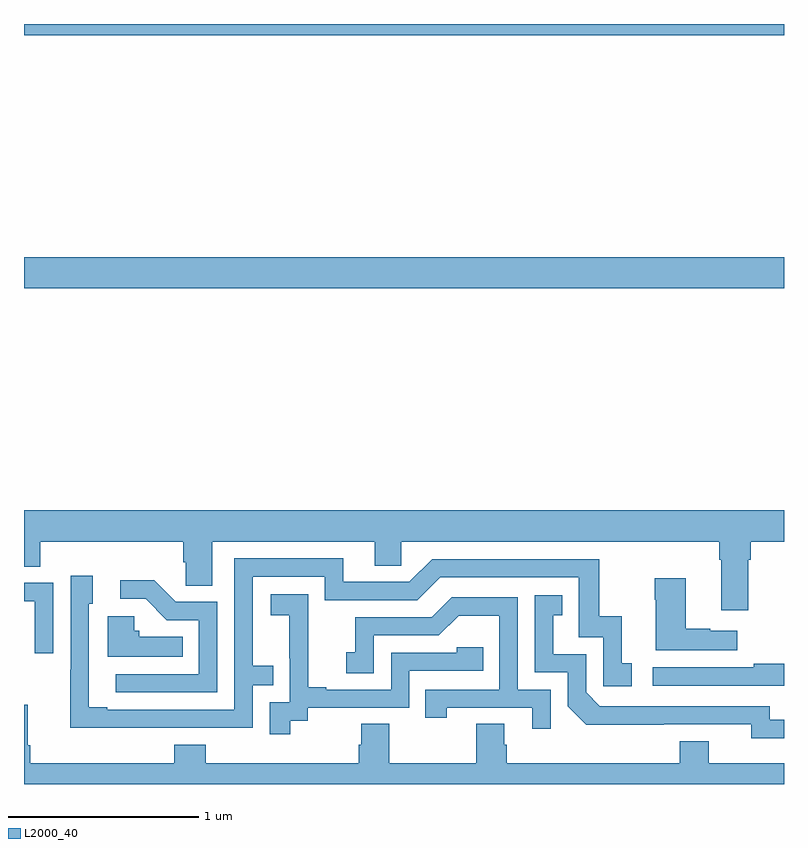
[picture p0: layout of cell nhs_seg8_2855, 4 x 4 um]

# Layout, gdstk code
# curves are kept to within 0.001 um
import gdstk
lib = gdstk.Library(unit=1e-6, precision=1e-09)
def R(c, l, rs):  # rectangles x0, y0, x1, y1
    for r in rs: c.add(gdstk.rectangle(r[:2], r[2:], *l))
def P(c, l, *ps):  # polygons
    for p in ps: c.add(gdstk.Polygon(p, *l))
L2000_40 = (2000, 40)

nhs_seg8_2855 = lib.new_cell('nhs_seg8_2855')
R(nhs_seg8_2855, L2000_40, [(291,1108.508,295,1108.672), (291,1109.84,295,1109.9)])
P(nhs_seg8_2855, L2000_40, [(294.811,1107.08),(294.824,1107.08),(294.824,1107.176),(295,1107.176),(295,1107.34),(291,1107.34),(291,1107.043),(291.086,1107.043),(291.086,1107.176),(291.839,1107.176),(291.839,1107.067),(291.852,1107.067),(291.852,1106.944),(291.991,1106.944),(291.991,1107.176),(292.847,1107.176),(292.847,1107.049),(292.986,1107.049),(292.986,1107.176),(294.659,1107.176),(294.659,1107.08),(294.671,1107.08),(294.671,1106.814),(294.811,1106.814)],
  [(291.707,1106.196),(292.203,1106.196),(292.203,1106.421),(292.313,1106.421),(292.313,1106.522),(292.203,1106.522),(292.203,1106.991),(292.584,1106.991),(292.584,1106.868),(293.07,1106.868),(293.19,1106.988),(293.919,1106.988),(293.919,1106.673),(294.048,1106.673),(294.048,1106.415),(294.199,1106.415),(294.199,1106.535),(294.146,1106.535),(294.146,1106.782),(294.028,1106.782),(294.028,1107.084),(293.148,1107.084),(293.028,1106.964),(292.681,1106.964),(292.681,1107.087),(292.107,1107.087),(292.107,1106.292),(291.439,1106.292),(291.439,1106.305),(291.342,1106.305),(291.342,1106.85),(291.361,1106.85),(291.361,1106.995),(291.246,1106.995),(291.246,1106.501),(291.244,1106.501),(291.244,1106.195)],
  [(294.754,1106.707),(294.611,1106.707),(294.611,1106.717),(294.484,1106.717),(294.484,1106.983),(294.319,1106.983),(294.319,1106.87),(294.326,1106.87),(294.326,1106.603),(294.754,1106.603)],
  [(292.017,1106.859),(291.798,1106.859),(291.685,1106.972),(291.507,1106.972),(291.507,1106.874),(291.641,1106.874),(291.752,1106.763),(291.921,1106.763),(291.921,1106.478),(291.483,1106.478),(291.483,1106.382),(292.017,1106.382)],
  [(291.153,1106.958),(291,1106.958),(291,1106.862),(291.057,1106.862),(291.057,1106.589),(291.153,1106.589)],
  [(292.402,1106.233),(292.494,1106.233),(292.494,1106.301),(293.028,1106.301),(293.028,1106.496),(293.417,1106.496),(293.417,1106.619),(293.277,1106.619),(293.277,1106.592),(292.932,1106.592),(292.932,1106.397),(292.591,1106.397),(292.591,1106.41),(292.496,1106.41),(292.496,1106.693),(292.497,1106.693),(292.497,1106.899),(292.299,1106.899),(292.299,1106.789),(292.397,1106.789),(292.397,1106.561),(292.398,1106.561),(292.398,1106.331),(292.293,1106.331),(292.293,1106.163),(292.402,1106.163)],
  [(295,1106.238),(294.924,1106.238),(294.924,1106.31),(294.03,1106.31),(293.958,1106.382),(293.958,1106.583),(293.785,1106.583),(293.785,1106.787),(293.834,1106.787),(293.834,1106.893),(293.688,1106.893),(293.688,1106.487),(293.862,1106.487),(293.862,1106.31),(293.96,1106.213),(294.828,1106.214),(294.828,1106.141),(295,1106.141)],
  [(293.772,1106.397),(293.598,1106.397),(293.598,1106.883),(293.252,1106.883),(293.147,1106.778),(292.744,1106.778),(292.744,1106.593),(292.695,1106.593),(292.695,1106.484),(292.842,1106.484),(292.842,1106.682),(293.184,1106.682),(293.288,1106.786),(293.502,1106.786),(293.502,1106.397),(293.113,1106.397),(293.113,1106.25),(293.224,1106.25),(293.224,1106.301),(293.675,1106.301),(293.675,1106.19),(293.772,1106.19)],
  [(291.836,1106.674),(291.606,1106.674),(291.606,1106.706),(291.579,1106.706),(291.579,1106.782),(291.44,1106.782),(291.44,1106.57),(291.836,1106.57)],
  [(295,1106.534),(294.841,1106.534),(294.841,1106.514),(294.309,1106.514),(294.309,1106.418),(295,1106.418)],
  [(295,1106.008),(294.604,1106.008),(294.604,1106.125),(294.452,1106.125),(294.452,1106.008),(293.54,1106.008),(293.54,1106.106),(293.527,1106.106),(293.527,1106.216),(293.38,1106.216),(293.38,1106.008),(292.923,1106.008),(292.923,1106.216),(292.775,1106.216),(292.775,1106.106),(292.763,1106.106),(292.763,1106.008),(291.956,1106.008),(291.956,1106.107),(291.791,1106.107),(291.791,1106.008),(291.032,1106.008),(291.032,1106.104),(291.019,1106.104),(291.019,1106.317),(291,1106.317),(291,1105.9),(295,1105.9)])

lib.write_gds('nhs_seg8_2855.gds')
